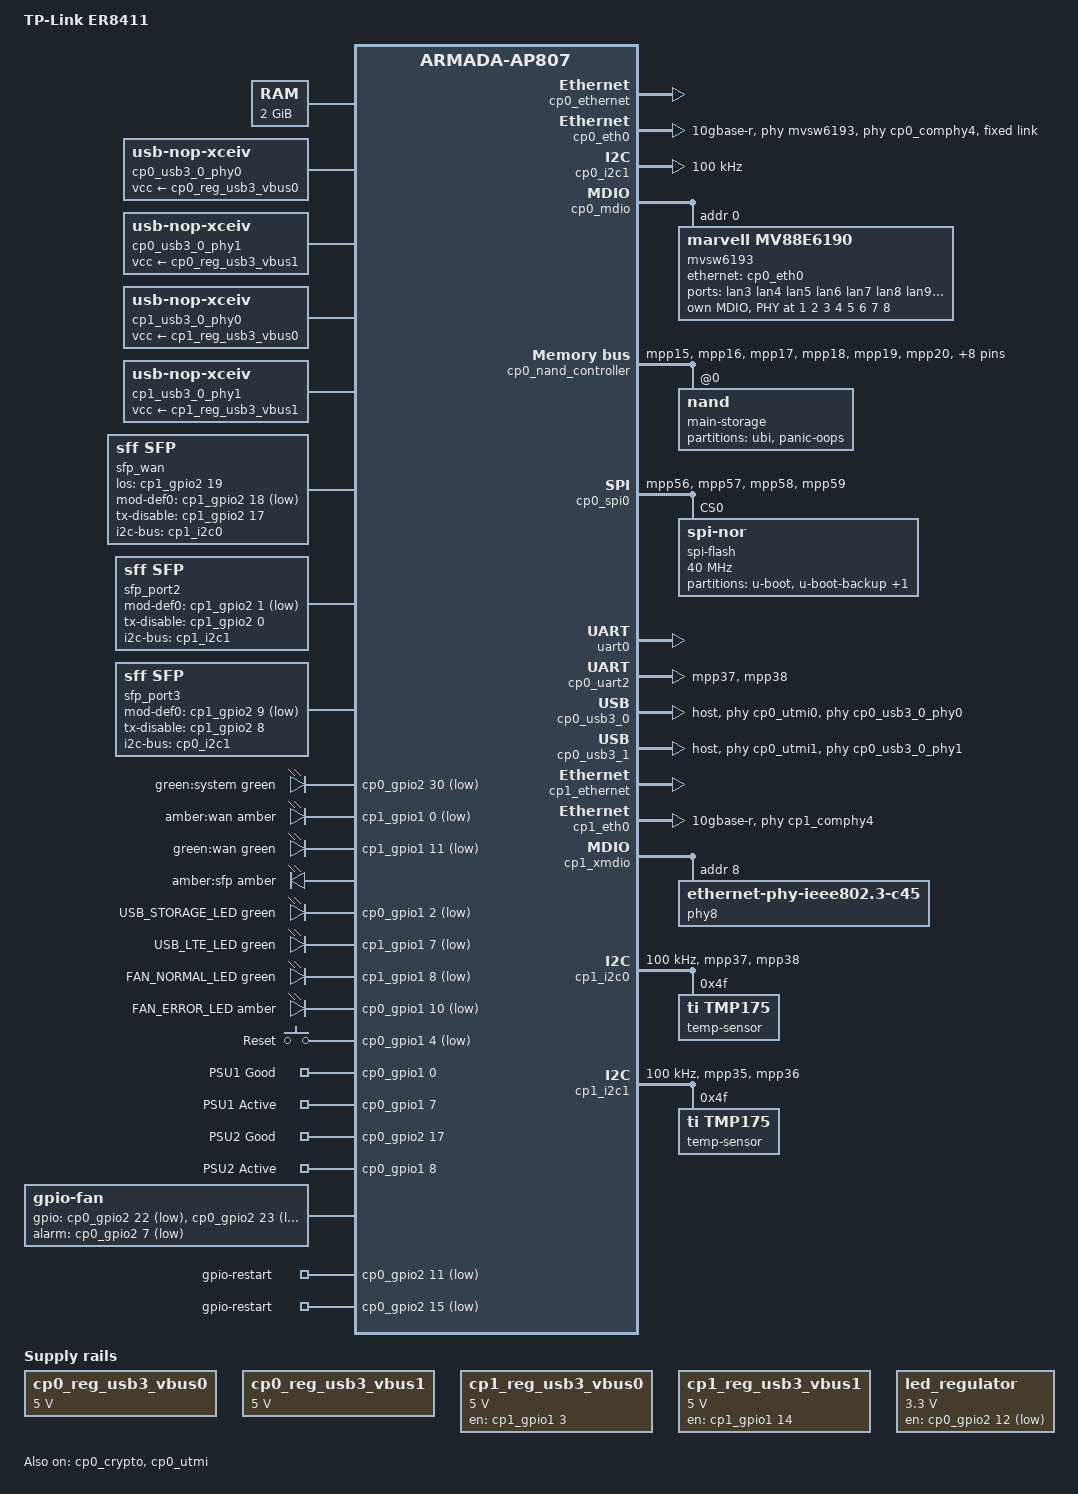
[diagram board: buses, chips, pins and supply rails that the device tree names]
// SPDX-License-Identifier: (GPL-2.0-or-later OR MIT)
/*
 * Copyright (C) 2025 Naomi Kirby
 *
 * Device tree for the TP-Link Omada ER8411v1
 */

#include "cn9130.dtsi"

#include <dt-bindings/gpio/gpio.h>
#include <dt-bindings/input/input.h>
#include <dt-bindings/leds/common.h>

/ {
	model = "TP-Link ER8411";
	compatible = "tplink,er8411",
		     "marvell,armada-ap807-quad", "marvell,armada-ap807";

	chosen {
		stdout-path = "serial1:115200n8";

		// The ER8411 bootloader manages dual boot partitions for recovery mode,
		// but OpenWRT only boots correctly from the primary slot. Override the
		// bootargs to ensure this is the case.
		bootargs-override = "console=ttyS1,115200 earlycon=uart8250,mmio32,0xf2702200 ubi.mtd=firmware,2048";
	};

	aliases {
		led-boot = &led_system;
		led-failsafe = &led_system;
		led-running = &led_system;
		led-upgrade = &led_system;
		gpio1 = &cp0_gpio1;
		gpio2 = &cp0_gpio2;
		gpio3 = &cp1_gpio1;
		gpio4 = &cp1_gpio2;
		i2c0 = &cp1_i2c0;
		ethernet0 = &cp0_eth0;
		ethernet1 = &cp1_eth0;
		spi1 = &cp0_spi0;
		spi2 = &cp0_spi1;
		serial1 = &cp0_uart2;
	};

	memory@0 {
		device_type = "memory";
		reg = <0x0 0x0 0x0 0x80000000>;
	};

	cp0_reg_usb3_vbus0: cp0_usb3_vbus@0 {
		compatible = "regulator-fixed";
		regulator-name = "cp0-xhci0-vbus";
		regulator-min-microvolt = <5000000>;
		regulator-max-microvolt = <5000000>;
		enable-active-high;
		//gpio = <&expander0 0 GPIO_ACTIVE_HIGH>;
	};

	cp0_usb3_0_phy0: cp0_usb3_phy0 {
		compatible = "usb-nop-xceiv";
		vcc-supply = <&cp0_reg_usb3_vbus0>;
	};

	cp0_reg_usb3_vbus1: cp0_usb3_vbus@1 {
		compatible = "regulator-fixed";
		regulator-name = "cp0-xhci1-vbus";
		regulator-min-microvolt = <5000000>;
		regulator-max-microvolt = <5000000>;
		enable-active-high;
		//gpio = <&expander0 1 GPIO_ACTIVE_HIGH>;
	};

	cp0_usb3_0_phy1: cp0_usb3_phy1 {
		compatible = "usb-nop-xceiv";
		vcc-supply = <&cp0_reg_usb3_vbus1>;
	};

	cp1_reg_usb3_vbus0: regulator-6 {
		compatible = "regulator-fixed";
		pinctrl-names = "default";
		pinctrl-0 = <&cp1_xhci0_vbus_pins>;
		regulator-name = "cp1-xhci0-vbus";
		regulator-min-microvolt = <5000000>;
		regulator-max-microvolt = <5000000>;
		enable-active-high;
		gpio = <&cp1_gpio1 3 GPIO_ACTIVE_HIGH>;
	};

	cp1_usb3_0_phy0: usb-phy-3 {
		compatible = "usb-nop-xceiv";
		vcc-supply = <&cp1_reg_usb3_vbus0>;
	};

	cp1_reg_usb3_vbus1: cp1_usb3_vbus@1 {
		compatible = "regulator-fixed";
		pinctrl-names = "default";
		pinctrl-0 = <&cp1_xhci1_vbus_pins>;
		regulator-name = "cp1-xhci1-vbus";
		regulator-min-microvolt = <5000000>;
		regulator-max-microvolt = <5000000>;
		enable-active-high;
		gpio = <&cp1_gpio1 14 GPIO_ACTIVE_HIGH>;
	};

	cp1_usb3_0_phy1: cp1_usb3_phy1 {
		compatible = "usb-nop-xceiv";
		vcc-supply = <&cp1_reg_usb3_vbus1>;
	};

	sfp_wan: sfp-wan {
		compatible = "sff,sfp";
		i2c-bus = <&cp1_i2c0>;
		los-gpio = <&cp1_gpio2 19 GPIO_ACTIVE_HIGH>;
		mod-def0-gpio = <&cp1_gpio2 18 GPIO_ACTIVE_LOW>;
		tx-disable-gpio = <&cp1_gpio2 17 GPIO_ACTIVE_HIGH>;
		pinctrl-names = "default";
		pinctrl-0 = <&cp1_sfp_wan_pins>;
		status = "okay";
		#thermal-sensor-cells = <0>;
	};

	sfp_port2: sfp-port2 {
		compatible = "sff,sfp";
		i2c-bus = <&cp1_i2c1>;
		//los-gpio = <&cp1_gpio2 2 GPIO_ACTIVE_HIGH>;
		mod-def0-gpio = <&cp1_gpio2 1 GPIO_ACTIVE_LOW>;
		tx-disable-gpio = <&cp1_gpio2 0 GPIO_ACTIVE_HIGH>;
		pinctrl-names = "default";
		pinctrl-0 = <&cp1_sfp_port2_pins>;
		status = "okay";
		#thermal-sensor-cells = <0>;
	};

	sfp_port3: sfp-port3 {
		compatible = "sff,sfp";
		i2c-bus = <&cp0_i2c1>;
		//los-gpio = <&cp1_gpio2 10 GPIO_ACTIVE_HIGH>;
		mod-def0-gpio = <&cp1_gpio2 9 GPIO_ACTIVE_LOW>;
		tx-disable-gpio = <&cp1_gpio2 8 GPIO_ACTIVE_HIGH>;
		pinctrl-names = "default";
		pinctrl-0 = <&cp1_sfp_port3_pins>;
		status = "okay";
		#thermal-sensor-cells = <0>;
	};

	// This is just a guess at what the pin does, but it seems this needs to
	// be enabled for the LEDs on the marvell switch to function as expected.
	// The name LED_88MV6193_OE appears in the OEM firmware for this pin.
	led_regulator: led-regulator {
		compatible = "regulator-fixed";
		pinctrl-names = "default";
		pinctrl-0 = <&cp0_led_regulator_pin>;
		regulator-name = "led-regulator";
		regulator-min-microvolt = <3300000>;
		regulator-max-microvolt = <3300000>;
		gpio = <&cp0_gpio2 12 GPIO_ACTIVE_LOW>;
		regulator-always-on;
	};

	gpio-leds {
		compatible = "gpio-leds";

		led_system: system {
			label = "green:system";
			color = <LED_COLOR_ID_GREEN>;
			gpios = <&cp0_gpio2 30 GPIO_ACTIVE_LOW>;
			function = LED_FUNCTION_STATUS;
		};

		wan_amber {
			label = "amber:wan";
			color = <LED_COLOR_ID_AMBER>;
			gpios = <&cp1_gpio1 0 GPIO_ACTIVE_LOW>;
			function = LED_FUNCTION_WAN;
		};
		wan_green {
			label = "green:wan";
			color = <LED_COLOR_ID_GREEN>;
			gpios = <&cp1_gpio1 11 GPIO_ACTIVE_LOW>;
			function = LED_FUNCTION_WAN;
		};

		sfp_amber {
			label = "amber:sfp";
			color = <LED_COLOR_ID_AMBER>;
			gpio = <&cp0_gpio2 10 GPIO_ACTIVE_LOW>;
			function = LED_FUNCTION_LAN;
		};

		usb-storage-led {
			label = "USB_STORAGE_LED";
			color = <LED_COLOR_ID_GREEN>;
			gpios = <&cp0_gpio1 2 GPIO_ACTIVE_LOW>;
			default-state = "keep";
		};
		usb-lte-led {
			label = "USB_LTE_LED";
			color = <LED_COLOR_ID_GREEN>;
			gpios = <&cp1_gpio1 7 GPIO_ACTIVE_LOW>;
			default-state = "keep";
		};
		fan-normal-led {
			label = "FAN_NORMAL_LED";
			color = <LED_COLOR_ID_GREEN>;
			gpios = <&cp1_gpio1 8 GPIO_ACTIVE_LOW>;
			default-state = "keep";
		};
		fan-error-led {
			label = "FAN_ERROR_LED";
			color = <LED_COLOR_ID_AMBER>;
			gpios = <&cp0_gpio1 10 GPIO_ACTIVE_LOW>;
			default-state = "keep";
		};
	};

	keys {
		compatible = "gpio-keys";
		pinctrl-names = "default";
		pinctrl-0 = <&cp0_button_pin>;

		reset {
			label = "Reset";
			linux,code = <KEY_RESTART>;
			gpios = <&cp0_gpio1 4 GPIO_ACTIVE_LOW>;
		};

		pwr1_good {
			label = "PSU1 Good";
			gpios = <&cp0_gpio1 0 GPIO_ACTIVE_HIGH>;
		};
		pwr1_active {
			label = "PSU1 Active";
			gpios = <&cp0_gpio1 7 GPIO_ACTIVE_HIGH>;
		};
		pwr2_good {
			label = "PSU2 Good";
			gpios = <&cp0_gpio2 17 GPIO_ACTIVE_HIGH>;
		};
		pwr2_active {
			label = "PSU2 Active";
			gpios = <&cp0_gpio1 8 GPIO_ACTIVE_HIGH>;
		};
	};

	fan: gpio-fan {
		compatible = "gpio-fan";
		pinctrl-names = "default";
		pinctrl-0 = <&cp0_fan_pins>;
		gpios = <&cp0_gpio2 22 GPIO_ACTIVE_LOW
			 &cp0_gpio2 23 GPIO_ACTIVE_LOW>;
		alarm-gpios = <&cp0_gpio2 7 GPIO_ACTIVE_LOW>;
		gpio-fan,speed-map = <0 0>, <0 1>, <3000 2>, <6000 3>;
		#cooling-cells = <2>;
	};

	gpio-restart {
		compatible = "gpio-restart";
		gpios = <&cp0_gpio2 11 GPIO_ACTIVE_LOW
			 &cp0_gpio2 15 GPIO_ACTIVE_LOW>;
		priority = <200>;
	};

	thermal-zones {
		phy-thermal {
			polling-delay-passive = <10000>;
			polling-delay = <10000>;
			thermal-sensors =
				<&sfp_wan &sfp_port2 &sfp_port3>,
			    <&swphy1 &swphy2 &swphy3 &swphy4 &swphy5 &swphy6 &swphy7 &swphy8>;
			trips {
				phy_active: phy-active {
					temperature = <40000>;
					hysteresis = <4000>;
					type = "active";
				};
				phy_high: phy-high {
					temperature = <65000>;
					hysteresis = <4000>;
					type = "active";
				};
				sfp_critical: sfp-crit {
					temperature = <110000>;
					hysteresis = <1000>;
					type = "critical";
				};
			};
			cooling-maps {
				active {
					trip = <&phy_active>;
					cooling-device = <&fan 2 2>;
				};
				high {
					trip = <&phy_high>;
					cooling-device = <&fan 3 3>;
				};
			};
		};
	};
};

&ap_thermal_ic {
	polling-delay = <1000>; /* milliseconds */
	trips {
		ap_active: trip-active {
			temperature = <40000>; /* millicelsius */
			hysteresis = <4000>; /* millicelsius */
			type = "active";
		};
		ap_high: trip-high {
			temperature = <60000>; /* millicelsius */
			hysteresis = <4000>; /* millicelsius */
			type = "active";
		};
	};
	cooling-maps {
		active {
			trip = <&ap_active>;
			cooling-device = <&fan 2 2>;
		};
		high {
			trip = <&ap_high>;
			cooling-device = <&fan 3 3>;
		};
	};
};

/*
 * CP related configuration
 */
&cp0_ethernet {
	status = "okay";
};

/* LAN1-11 via mv88e6193 switch */
&cp0_eth0 {
	status = "okay";
	phy-mode = "10gbase-r";
	phys = <&cp0_comphy4 0>;
	phy = <&mvsw6193>;
	fixed-link {
		speed = <10000>;
		full-duplex;
	};
};

&cp0_i2c0 {
	status = "disabled";
};

&cp0_i2c1 {
	status = "okay";
	clock-frequency = <100000>;
};

&cp0_mdio {
	status = "okay";

	mvsw6193: switch@0{
		compatible = "marvell,mv88e6190";
		status = "okay";
		reg = <0>;
		ptp-disable;

		ports {
			#address-cells = <1>;
			#size-cells = <0>;

			swport0: port@0 {
				reg = <0x0>;
				label = "lan3";
				phy-mode = "sgmii";
				managed = "in-band-status";
				sfp = <&sfp_port3>;
			};

			swport1: port@1 {
				reg = <0x1>;
				label = "lan4";
				phy-handle = <&swphy1>;

				leds {
					#address-cells = <1>;
					#size-cells = <0>;

					led@0 {
						reg = <0>;
						color = <LED_COLOR_ID_GREEN>;
						function = LED_FUNCTION_LAN;
					};

					led@1 {
						reg = <1>;
						color = <LED_COLOR_ID_AMBER>;
						function = LED_FUNCTION_LAN;
					};
				};
			};

			swport2: port@2 {
				reg = <0x2>;
				label = "lan5";
				phy-handle = <&swphy2>;

				leds {
					#address-cells = <1>;
					#size-cells = <0>;

					led@0 {
						reg = <0>;
						color = <LED_COLOR_ID_GREEN>;
						function = LED_FUNCTION_LAN;
					};

					led@1 {
						reg = <1>;
						color = <LED_COLOR_ID_AMBER>;
						function = LED_FUNCTION_LAN;
					};
				};
			};

			swport3: port@3 {
				reg = <0x3>;
				label = "lan6";
				phy-handle = <&swphy3>;

				leds {
					#address-cells = <1>;
					#size-cells = <0>;

					led@0 {
						reg = <0>;
						color = <LED_COLOR_ID_GREEN>;
						function = LED_FUNCTION_LAN;
					};

					led@1 {
						reg = <1>;
						color = <LED_COLOR_ID_AMBER>;
						function = LED_FUNCTION_LAN;
					};
				};
			};

			swport4: port@4 {
				reg = <0x4>;
				label = "lan7";
				phy-handle = <&swphy4>;

				leds {
					#address-cells = <1>;
					#size-cells = <0>;

					led@0 {
						reg = <0>;
						color = <LED_COLOR_ID_GREEN>;
						function = LED_FUNCTION_LAN;
					};

					led@1 {
						reg = <1>;
						color = <LED_COLOR_ID_AMBER>;
						function = LED_FUNCTION_LAN;
					};
				};
			};

			swport5: port@5 {
				reg = <0x5>;
				label = "lan8";
				phy-handle = <&swphy5>;

				leds {
					#address-cells = <1>;
					#size-cells = <0>;

					led@0 {
						reg = <0>;
						color = <LED_COLOR_ID_GREEN>;
						function = LED_FUNCTION_LAN;
					};

					led@1 {
						reg = <1>;
						color = <LED_COLOR_ID_AMBER>;
						function = LED_FUNCTION_LAN;
					};
				};
			};

			swport6: port@6 {
				reg = <0x6>;
				label = "lan9";
				phy-handle = <&swphy6>;

				leds {
					#address-cells = <1>;
					#size-cells = <0>;

					led@0 {
						reg = <0>;
						color = <LED_COLOR_ID_GREEN>;
						function = LED_FUNCTION_LAN;
					};

					led@1 {
						reg = <1>;
						color = <LED_COLOR_ID_AMBER>;
						function = LED_FUNCTION_LAN;
					};
				};
			};

			swport7: port@7 {
				reg = <0x7>;
				label = "lan10";
				phy-handle = <&swphy7>;

				leds {
					#address-cells = <1>;
					#size-cells = <0>;

					led@0 {
						reg = <0>;
						color = <LED_COLOR_ID_GREEN>;
						function = LED_FUNCTION_LAN;
					};

					led@1 {
						reg = <1>;
						color = <LED_COLOR_ID_AMBER>;
						function = LED_FUNCTION_LAN;
					};
				};
			};

			swport8: port@8 {
				reg = <0x8>;
				label = "lan11";
				phy-handle = <&swphy8>;

				leds {
					#address-cells = <1>;
					#size-cells = <0>;

					led@0 {
						reg = <0>;
						color = <LED_COLOR_ID_GREEN>;
						function = LED_FUNCTION_LAN;
					};

					led@1 {
						reg = <1>;
						color = <LED_COLOR_ID_AMBER>;
						function = LED_FUNCTION_LAN;
					};
				};
			};

			port@9 {
				reg = <0x9>;
				label = "cpu";
				ethernet = <&cp0_eth0>;
				phy-mode = "10gbase-r";

				fixed-link {
					speed = <10000>;
					full-duplex;
				};
			};

			port@a {
				reg = <0xa>;
				label = "lan2";
				phy-mode = "10gbase-r";
				managed = "in-band-status";
				sfp = <&sfp_port2>;
			};
		};

		mdio {
			#address-cells = <1>;
			#size-cells = <0>;

			swphy1: switch-phy@1 {
				reg = <0x1>;
				#thermal-sensor-cells = <0>;
			};

			swphy2: switch-phy@2 {
				reg = <0x2>;
				#thermal-sensor-cells = <0>;
			};

			swphy3: switch-phy@3 {
				reg = <0x3>;
				#thermal-sensor-cells = <0>;
			};

			swphy4: switch-phy@4 {
				reg = <0x4>;
				#thermal-sensor-cells = <0>;
			};

			swphy5: switch-phy@5 {
				reg = <0x5>;
				#thermal-sensor-cells = <0>;
			};

			swphy6: switch-phy@6 {
				reg = <0x6>;
				#thermal-sensor-cells = <0>;
			};

			swphy7: switch-phy@7 {
				reg = <0x7>;
				#thermal-sensor-cells = <0>;
			};

			swphy8: switch-phy@8 {
				reg = <0x8>;
				#thermal-sensor-cells = <0>;
			};
		};
	};
};

/* U54 */
&cp0_nand_controller {
	status = "okay";
	pinctrl-names = "default";
	pinctrl-0 = <&nand_pins &nand_rb>;

	nand@0 {
		reg = <0>;
		label = "main-storage";
		nand-rb = <0>;
		nand-ecc-mode = "hw";
		nand-on-flash-bbt;
		nand-ecc-strength = <4>;
		nand-ecc-step-size = <512>;

		partitions {
			compatible = "fixed-partitions";
			#address-cells = <1>;
			#size-cells = <1>;

			partition@0 {
				compatible = "linux,ubi";
				label = "ubi";
				reg = <0 0xfc00000>;
			};

			partition@fc00000 {
				label = "panic-oops";
				reg = <0xfc00000 0x400000>;
			};
		};
	};
};

&cp0_spi0 {
	status = "okay";
	pinctrl-names = "default";
	pinctrl-0 = <&cp0_spi0_pins>;
	reg = <0x700600 0x50>,		/* control */
	      <0x2000000 0x1000000>;	/* CS0 */

	spi-flash@0 {
		#address-cells = <0x1>;
		#size-cells = <0x1>;
		compatible = "jedec,spi-nor";
		reg = <0x0>;
		/* On-board MUX does not allow higher frequencies */
		spi-max-frequency = <40000000>;

		partitions {
			compatible = "fixed-partitions";
			#address-cells = <1>;
			#size-cells = <1>;

			partition@0 {
				label = "u-boot";
				reg = <0x0 0x200000>;
			};

			partition@200000 {
				label = "u-boot-backup";
				reg = <0x200000 0x1f0000>;
			};

			partition@3f0000 {
				label = "u-boot-env";
				reg = <0x3f0000 0x10000>;
			};
		};
	};
};

&cp0_syscon0 {
	cp0_pinctrl: pinctrl {
		compatible = "marvell,cp115-standalone-pinctrl";

		cp0_uart2_pins: cp0-uart-pins-0 {
			marvell,pins = "mpp37", "mpp38"; /* RX and TX MPP IDs for CP0 UART0 */
			marvell,function = "uart2"; /* UART0 function number */
		};

		cp0_i2c1_pins: cp0-i2c-pins-1 {
			marvell,pins = "mpp35", "mpp36";
			marvell,function = "i2c1";
		};
		cp0_spi0_pins: cp0-spi-pins-0 {
			marvell,pins = "mpp56", "mpp57", "mpp58", "mpp59";
			marvell,function = "spi0";
		};
		nand_pins: nand-pins {
			marvell,pins =
			"mpp15", "mpp16", "mpp17", "mpp18", "mpp19",
			"mpp20", "mpp21", "mpp22", "mpp23", "mpp24",
			"mpp25", "mpp26", "mpp27";
			marvell,function = "dev";
		};
		nand_rb: nand-rb {
			marvell,pins = "mpp13";
			marvell,function = "nf";
		};

		cp0_button_pin: cp0-button-pin {
			marvell,pins = "mpp4";
			marvell,function = "gpio";
		};

		cp0_led_regulator_pin: cp0-led-regulator-pin {
			marvell,pins = "mpp44";
			marvell,function = "gpio";
		};

		cp0_fan_pins: cp0-fan-pins {
			marvell,pins = "mpp39", "mpp54", "mpp55";
			marvell,function = "gpio";
		};
	};
};

// UART0 is the factory default console, which we don't really use.
// I *think* it goes to the 4-pin header beside the CPU, but I couldn't
// get any signs of life (might have had the wrong UART voltage, IDK)
&uart0 {
	status = "okay";
	pinctrl-0 = <&uart0_pins>;
	pinctrl-names = "default";
};

&cp0_uart2 {
	pinctrl-names = "default";
	pinctrl-0 = <&cp0_uart2_pins>;
	status = "okay";
};

&cp0_crypto {
	status = "okay";
};

&cp0_utmi {
	status = "okay";
};

&cp0_usb3_0 {
	status = "okay";
	usb-phy = <&cp0_usb3_0_phy0>;
	phys = <&cp0_utmi0>;
	phy-names = "utmi";
	dr_mode = "host";
};

&cp0_usb3_1 {
	status = "okay";
	usb-phy = <&cp0_usb3_0_phy1>;
	phys = <&cp0_utmi1>;
	phy-names = "utmi";
	dr_mode = "host";
};

/*
 * Instantiate the first slave CP115
 */

#define CP11X_NAME		cp1
#define CP11X_BASE		f4000000
#define CP11X_PCIEx_MEM_BASE(iface) (0xe2000000 + (iface * 0x1000000))
#define CP11X_PCIEx_MEM_SIZE(iface) 0xf00000
#define CP11X_PCIE0_BASE	f4600000
#define CP11X_PCIE1_BASE	f4620000
#define CP11X_PCIE2_BASE	f4640000

#include "armada-cp115.dtsi"

#undef CP11X_NAME
#undef CP11X_BASE
#undef CP11X_PCIEx_MEM_BASE
#undef CP11X_PCIEx_MEM_SIZE
#undef CP11X_PCIE0_BASE
#undef CP11X_PCIE1_BASE
#undef CP11X_PCIE2_BASE

&cp1_ethernet {
	status = "okay";
};

&cp1_crypto {
	status = "okay";
};

/* "WAN" SFP+ Port */
&cp1_eth0 {
	status = "okay";
	label = "wan";
	phy-mode = "10gbase-r";
	phys = <&cp1_comphy4 0>;
	managed = "in-band-status";
	sfp = <&sfp_wan>;
};

&cp1_xmdio {
	status = "okay";
	phy8: ethernet-phy@8 {
		compatible = "ethernet-phy-ieee802.3-c45";
		reg = <8>;
	};
};

&cp1_crypto {
	status = "disabled";
};

&cp1_gpio1 {
	status = "okay";
};

&cp1_gpio2 {
	status = "okay";
};

&cp1_i2c0 {
	pinctrl-names = "default";
	pinctrl-0 = <&cp1_i2c0_pins>;
	status = "okay";
	clock-frequency = <100000>;

	temp-sensor@4f {
		 compatible = "ti,tmp175";
		 reg = <0x4f>;
	};

	// Just a wild-ass guess for the time being.
	expander1: pca955x@64 {
		compatible = "nxp,pca9551";
		gpio-controller;
		#gpio-cells = <2>;
		reg = <0x64>;
		status = "disabled";
	};
};

&cp1_i2c1 {
	pinctrl-names = "default";
	pinctrl-0 = <&cp1_i2c1_pins>;
	status = "okay";
	clock-frequency = <100000>;

	temp-sensor@4f {
		 compatible = "ti,tmp175";
		 reg = <0x4f>;
	};
};

&cp1_syscon0 {
	cp1_pinctrl: pinctrl {
		compatible = "marvell,cp115-standalone-pinctrl";

		cp1_i2c0_pins: cp1-i2c-pins-0 {
			marvell,pins = "mpp37", "mpp38";
			marvell,function = "i2c0";
		};
		cp1_i2c1_pins: cp1-i2c-pins-1 {
			marvell,pins = "mpp35", "mpp36";
			marvell,function = "i2c1";
		};
		cp1_xhci0_vbus_pins: cp1-xhci0-vbus-pins {
			marvell,pins = "mpp3", "mpp16";
			marvell,function = "gpio";
		};
		cp1_xhci1_vbus_pins: cp1-xhci1-vbus-pins {
			marvell,pins = "mpp13", "mpp14";
			marvell,function = "gpio";
		};
		cp1_sfp_wan_pins: sfp-wan-pins {
			marvell,pins = "mpp49", "mpp50", "mpp51";
			marvell,function = "gpio";
		};
		cp1_sfp_port2_pins: sfp-port2-pins {
			marvell,pins = "mpp32", "mpp33";
			marvell,function = "gpio";
		};
		cp1_sfp_port3_pins: sfp-port3-pins {
			marvell,pins = "mpp40", "mpp41";
			marvell,function = "gpio";
		};
	};
};
